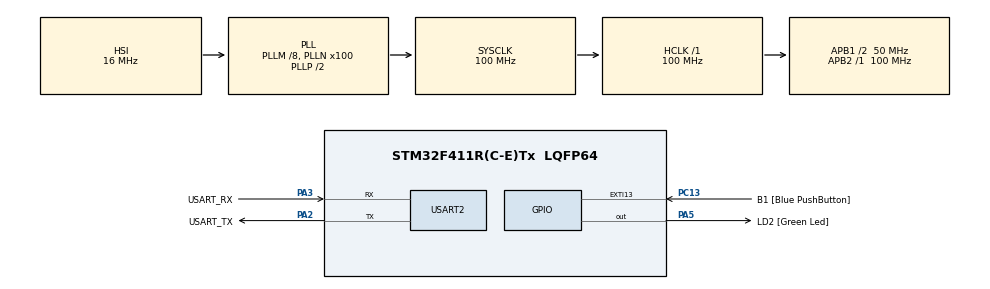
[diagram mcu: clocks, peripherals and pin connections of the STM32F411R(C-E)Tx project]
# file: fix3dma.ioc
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Dma.Request0=USART2_RX
Dma.Request1=USART2_TX
Dma.USART2_RX.0.Direction=DMA_PERIPH_TO_MEMORY
Dma.USART2_RX.0.FIFOMode=DMA_FIFOMODE_DISABLE
Dma.USART2_RX.0.Instance=DMA1_Stream5
Dma.USART2_RX.0.MemDataAlignment=DMA_MDATAALIGN_BYTE
Dma.USART2_RX.0.MemInc=DMA_MINC_ENABLE
Dma.USART2_RX.0.Mode=DMA_NORMAL
Dma.USART2_RX.0.PeriphDataAlignment=DMA_PDATAALIGN_BYTE
Dma.USART2_RX.0.PeriphInc=DMA_PINC_DISABLE
Dma.USART2_RX.0.Priority=DMA_PRIORITY_LOW
Dma.USART2_TX.1.Direction=DMA_MEMORY_TO_PERIPH
Dma.USART2_TX.1.FIFOMode=DMA_FIFOMODE_DISABLE
Dma.USART2_TX.1.Instance=DMA1_Stream6
Dma.USART2_TX.1.MemDataAlignment=DMA_MDATAALIGN_BYTE
Dma.USART2_TX.1.MemInc=DMA_MINC_ENABLE
Dma.USART2_TX.1.Mode=DMA_NORMAL
Dma.USART2_TX.1.PeriphDataAlignment=DMA_PDATAALIGN_BYTE
Dma.USART2_TX.1.PeriphInc=DMA_PINC_DISABLE
Dma.USART2_TX.1.Priority=DMA_PRIORITY_LOW
Mcu.Family=STM32F4
Mcu.Name=STM32F411R(C-E)Tx
Mcu.Package=LQFP64
NVIC.DMA1_Stream5_IRQn=true\:0\:0\:false\:false\:true\:false\:true\:true
NVIC.DMA1_Stream6_IRQn=true\:0\:0\:false\:false\:true\:false\:true\:true
NVIC.PriorityGroup=NVIC_PRIORITYGROUP_0
NVIC.USART2_IRQn=true\:0\:0\:false\:false\:true\:true\:true\:true
PA13.GPIO_Label=TMS
PA13.Mode=Serial_Wire
PA13.Signal=SYS_JTMS-SWDIO
PA14.GPIO_Label=TCK
PA14.Mode=Serial_Wire
PA14.Signal=SYS_JTCK-SWCLK
PA2.GPIO_Label=USART_TX
PA2.Mode=Asynchronous
PA2.Signal=USART2_TX
PA3.GPIO_Label=USART_RX
PA3.Mode=Asynchronous
PA3.Signal=USART2_RX
PA5.GPIO_Label=LD2 [Green Led]
PA5.Signal=GPIO_Output
PB3.GPIO_Label=SWO
PB3.Signal=SYS_JTDO-SWO
PC13-ANTI_TAMP.GPIO_Label=B1 [Blue PushButton]
PC13-ANTI_TAMP.GPIO_ModeDefaultEXTI=GPIO_MODE_IT_FALLING
PC13-ANTI_TAMP.Signal=GPXTI13
PC14-OSC32_IN.Mode=LSE-External-Oscillator
PC14-OSC32_IN.Signal=RCC_OSC32_IN
PC15-OSC32_OUT.Mode=LSE-External-Oscillator
PC15-OSC32_OUT.Signal=RCC_OSC32_OUT
PH0\ -\ OSC_IN.Mode=HSE-External-Clock-Source
PH0\ -\ OSC_IN.Signal=RCC_OSC_IN
PH1\ -\ OSC_OUT.Mode=HSE-External-Clock-Source
PH1\ -\ OSC_OUT.Signal=RCC_OSC_OUT
ProjectManager.HeapSize=0x200
ProjectManager.StackSize=0x400
ProjectManager.TargetToolchain=STM32CubeIDE
RCC.48MHZClocksFreq_Value=50000000
RCC.AHBFreq_Value=100000000
RCC.APB1CLKDivider=RCC_HCLK_DIV2
RCC.APB1Freq_Value=50000000
RCC.APB1TimFreq_Value=100000000
RCC.APB2Freq_Value=100000000
RCC.APB2TimFreq_Value=100000000
RCC.CortexFreq_Value=100000000
RCC.FLatency-AdvancedSettings=FLASH_LATENCY_3
RCC.HCLKFreq_Value=100000000
RCC.HSE_VALUE=8000000
RCC.HSI_VALUE=16000000
RCC.PLLM=8
RCC.PLLN=100
RCC.SYSCLKFreq_VALUE=100000000
RCC.SYSCLKSource=RCC_SYSCLKSOURCE_PLLCLK
RCC.VCOOutputFreq_Value=200000000
USART2.VirtualMode=VM_ASYNC
board=NUCLEO-F411RE

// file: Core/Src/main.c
/* USER CODE BEGIN Header */
/**
  ******************************************************************************
  * @file           : main.c
  * @brief          : Main program body
  ******************************************************************************
  * @attention
  *
  * Copyright (c) 2026 STMicroelectronics.
  * All rights reserved.
  *
  * This software is licensed under terms that can be found in the LICENSE file
  * in the root directory of this software component.
  * If no LICENSE file comes with this software, it is provided AS-IS.
  *
  ******************************************************************************
  */
/* USER CODE END Header */
#include "main.h"
#include "dma.h"
#include "usart.h"
    #include "gpio.h"

/* USER CODE BEGIN Includes */
#include <string.h>
/* USER CODE END Includes */

/* USER CODE BEGIN PV */
uint8_t rx_buf[64];
uint8_t cmd_buf[64];

volatile uint16_t cmd_size = 0;
volatile uint8_t cmd_flag = 0;
/* USER CODE END PV */

void SystemClock_Config(void);

/* USER CODE BEGIN 0 */
void process_command();
/* USER CODE END 0 */

int main(void)
{

  /* MCU Configuration--------------------------------------------------------*/

  /* Reset of all peripherals, Initializes the Flash interface and the Systick. */
  HAL_Init();

  /* Configure the system clock */
  SystemClock_Config();

  /* Initialize all configured peripherals */
  MX_GPIO_Init();
  MX_DMA_Init();
  MX_USART2_UART_Init();
  /* USER CODE BEGIN 2 */
HAL_GPIO_WritePin(GPIOx, GPIO_Pin, PinState)
  HAL_UARTEx_ReceiveToIdle_DMA(&huart2, rx_buf, sizeof(rx_buf));
  __HAL_DMA_DISABLE_IT(huart2.hdmarx, DMA_IT_HT); // tắt half-transfer
  /* USER CODE END 2 */

  /* Infinite loop */
  while (1)
  {

    /* USER CODE BEGIN 3 */
	  process_command();
  }
  /* USER CODE END 3 */
}

void SystemClock_Config(void)
{
  RCC_OscInitTypeDef RCC_OscInitStruct = {0};
  RCC_ClkInitTypeDef RCC_ClkInitStruct = {0};

  /** Configure the main internal regulator output voltage
  */
  __HAL_RCC_PWR_CLK_ENABLE();
  __HAL_PWR_VOLTAGESCALING_CONFIG(PWR_REGULATOR_VOLTAGE_SCALE1);

  /** Initializes the RCC Oscillators according to the specified parameters
  * in the RCC_OscInitTypeDef structure.
  */
  RCC_OscInitStruct.OscillatorType = RCC_OSCILLATORTYPE_HSI;
  RCC_OscInitStruct.HSIState = RCC_HSI_ON;
  RCC_OscInitStruct.HSICalibrationValue = RCC_HSICALIBRATION_DEFAULT;
  RCC_OscInitStruct.PLL.PLLState = RCC_PLL_ON;
  RCC_OscInitStruct.PLL.PLLSource = RCC_PLLSOURCE_HSI;
  RCC_OscInitStruct.PLL.PLLM = 8;
  RCC_OscInitStruct.PLL.PLLN = 100;
  RCC_OscInitStruct.PLL.PLLP = RCC_PLLP_DIV2;
  RCC_OscInitStruct.PLL.PLLQ = 4;
  if (HAL_RCC_OscConfig(&RCC_OscInitStruct) != HAL_OK)
  {
    Error_Handler();
  }

  /** Initializes the CPU, AHB and APB buses clocks
  */
  RCC_ClkInitStruct.ClockType = RCC_CLOCKTYPE_HCLK|RCC_CLOCKTYPE_SYSCLK
                              |RCC_CLOCKTYPE_PCLK1|RCC_CLOCKTYPE_PCLK2;
  RCC_ClkInitStruct.SYSCLKSource = RCC_SYSCLKSOURCE_PLLCLK;
  RCC_ClkInitStruct.AHBCLKDivider = RCC_SYSCLK_DIV1;
  RCC_ClkInitStruct.APB1CLKDivider = RCC_HCLK_DIV2;
  RCC_ClkInitStruct.APB2CLKDivider = RCC_HCLK_DIV1;

  if (HAL_RCC_ClockConfig(&RCC_ClkInitStruct, FLASH_LATENCY_3) != HAL_OK)
  {
    Error_Handler();
  }
}

/* USER CODE BEGIN 4 */
void HAL_UARTEx_RxEventCallback(UART_HandleTypeDef *huart, uint16_t size)
{
    if (huart->Instance == USART2)
    {
        if (size > 0 && size < sizeof(cmd_buf))
        {
            memcpy(cmd_buf, rx_buf, size);
            cmd_size = size;
            cmd_flag = 1;
        }

        // Start lại DMA ngay
        HAL_UARTEx_ReceiveToIdle_DMA(&huart2, rx_buf, sizeof(rx_buf));
        __HAL_DMA_DISABLE_IT(huart2.hdmarx, DMA_IT_HT);
    }
}
void process_command()
{
    if (cmd_flag == 1)
    {
        uint16_t size;

        // 🔒 chống race condition
        __disable_irq();
        size = cmd_size;
        cmd_flag = 0;
        __enable_irq();

        if (size >= sizeof(cmd_buf))
            return;

        // Kết thúc chuỗi
        cmd_buf[size] = '\0';

        // Xóa \r\n
        cmd_buf[strcspn((char*)cmd_buf, "\r\n")] = '\0';

        // So sánh lệnh
        if (strcmp((char*)cmd_buf, "bat") == 0)
        {
            HAL_GPIO_WritePin(GPIOA, GPIO_PIN_5, GPIO_PIN_SET);
            HAL_UART_Transmit(&huart2, (uint8_t*)"LED ON\r\n", 8, 100);
        }
        else if (strcmp((char*)cmd_buf, "t") == 0)
        {
            HAL_GPIO_WritePin(GPIOA, GPIO_PIN_5, GPIO_PIN_RESET);
            HAL_UART_Transmit(&huart2, (uint8_t*)"LED OFF\r\n", 9, 100);
        }
        else
        {
            HAL_UART_Transmit(&huart2, (uint8_t*)"INVALID\r\n", 9, 100);
        }
    }
}
/* USER CODE END 4 */

void Error_Handler(void)
{
  __disable_irq();
  while (1)
  {
  }
}
